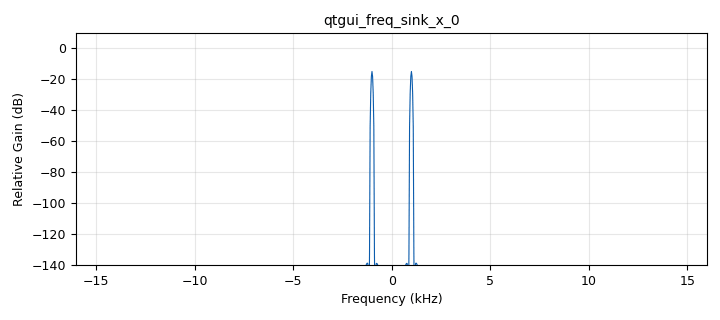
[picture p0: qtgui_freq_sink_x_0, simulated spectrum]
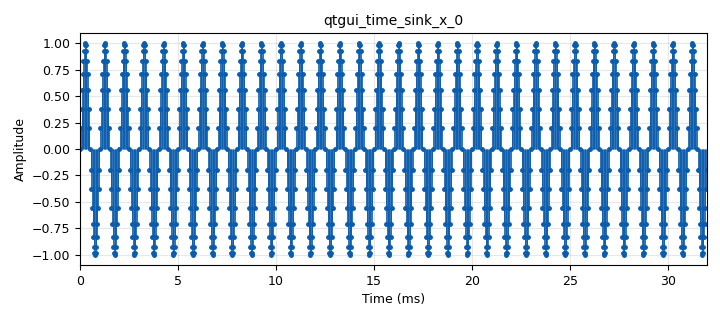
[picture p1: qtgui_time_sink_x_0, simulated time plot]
options:
  parameters:
    author: Akash Shaw | Ansul Jain
    generate_options: qt_gui
    id: untitled
    output_language: python
    title: Not titled yet
  states: {}

blocks:
- name: samp_rate
  id: variable
  parameters:
    value: '32000'
  states: {}
- name: analog_sig_source_x_0
  id: analog_sig_source_x
  parameters:
    amp: '1'
    freq: '1000'
    offset: '0'
    phase: '0'
    samp_rate: samp_rate
    type: float
    waveform: analog.GR_SIN_WAVE
  states: {}
- name: blocks_throttle2_0
  id: blocks_throttle2
  parameters:
    samples_per_second: samp_rate
    type: float
  states: {}
- name: qtgui_freq_sink_x_0
  id: qtgui_freq_sink_x
  parameters:
    bw: samp_rate
    fc: '0'
    fftsize: '1024'
    type: float
  states: {}
- name: qtgui_time_sink_x_0
  id: qtgui_time_sink_x
  parameters:
    autoscale: 'True'
    grid: 'True'
    size: '1024'
    srate: samp_rate
    stemplot: 'True'
    type: float
  states: {}

connections:
- [analog_sig_source_x_0, '0', blocks_throttle2_0, '0']
- [blocks_throttle2_0, '0', qtgui_freq_sink_x_0, '0']
- [blocks_throttle2_0, '0', qtgui_time_sink_x_0, '0']

metadata:
  file_format: 1
  grc_version: 3.10.12.0
